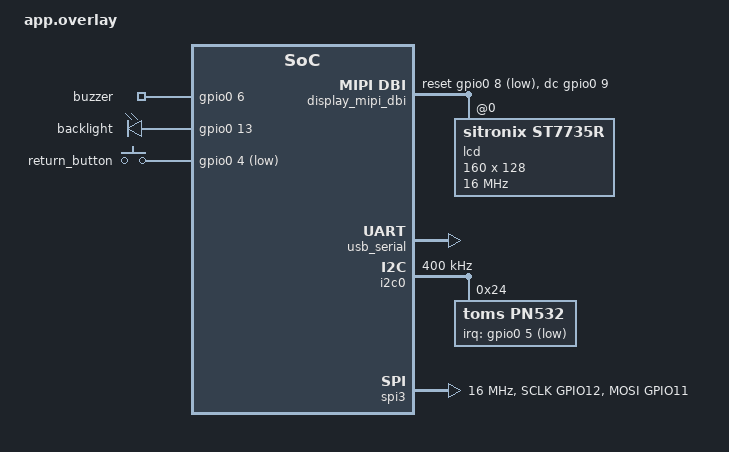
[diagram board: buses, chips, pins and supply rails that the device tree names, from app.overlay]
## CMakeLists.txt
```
cmake_minimum_required(VERSION 3.20.0)
find_package(Zephyr REQUIRED HINTS $ENV{ZEPHYR_BASE})
project(return_machine LANGUAGES C)

# Portable core shared with the host-side unit tests (firmware/lib/toms_core).
set(TOMS_CORE ${CMAKE_CURRENT_LIST_DIR}/../lib/toms_core)

target_sources(app PRIVATE
  src/main.c
  src/reset_reason.c
  src/pn532.c
  src/buzzer.c
  src/button.c
  src/display_test.c
  src/trial.c
  src/ble/svc.c
  src/ble/ota.c
  src/ota_ui.c
  ${TOMS_CORE}/src/crc16.c
  ${TOMS_CORE}/src/codec.c
  ${TOMS_CORE}/src/state_table.c
  ${TOMS_CORE}/src/ring.c
  ${TOMS_CORE}/src/clock.c
  ${TOMS_CORE}/src/guard.c
  ${TOMS_CORE}/src/reset.c
  ${TOMS_CORE}/src/ota.c
  ${TOMS_CORE}/src/sha256.c
)

target_include_directories(app PRIVATE
  src
  ${TOMS_CORE}/include
)
```

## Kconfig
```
# TOMS Return Machine — application options

mainmenu "TOMS Return Machine"

menu "TOMS Return Machine"

# Unified firmware: boots in Passenger In-Service mode, unlocks Diagnostic mode on special code
config TOMS_BACKLIGHT_ACTIVE_HIGH
	bool "Backlight is on when GPIO13 is high"
	default n
	help
		The built board uses a PNP (2N3906) high-side switch: base low =
		backlight on, so GPIO13 low is "on". The Fritzing sketch still
		shows an NPN; enable this only for that wiring.

config TOMS_PAID_TIMEOUT_MS
	int "Paid-check timeout in milliseconds (brief allows 1000-2000)"
	default 1500
	range 1000 2000

config TOMS_HEARTBEAT_INTERVAL_S
	int "Heartbeat interval in seconds"
	default 10
	range 1 120

config TOMS_RING_CAPACITY
	int "Offline card-read ring capacity (entries)"
	default 256

config TOMS_STATE_TABLE_CAPACITY
	int "Cached card state table capacity (entries)"
	default 64

config TOMS_DEV_MODE
	bool "Development mode (unbonded centrals accepted, dev key)"
	default n
	help
		Never enable in a field build. Exists only so the spike and bench
		tests can run before enrollment is designed.

config TOMS_BUILD_TAG
	string "Name printed at boot to tell images apart"
	default "dev"
	help
		Shown in the boot log and by the OTA tests ("good-1", "bad-crash", ...).

config TOMS_WATCHDOG_TIMEOUT_MS
	int "Watchdog timeout in milliseconds"
	default 8000
	range 2000 60000
	help
		The watchdog resets the SoC unless the NFC, display and main tasks all show
		progress within this time. Must be long enough for a PN532 init retry (5 s).

config TOMS_SELFTEST_GOOD_CHECKS
	int "Healthy checks in a row before a trial image confirms itself"
	default 5
	range 1 100
	help
		A check runs every second. 5 means 5 s of Bluetooth up, display up and every
		monitored task running before the image is confirmed.

config TOMS_SELFTEST_DEADLINE_MS
	int "Self-test deadline in milliseconds"
	default 30000
	range 5000 120000
	help
		If a trial image is not healthy by then, it resets so the old image comes back.

choice TOMS_TRIAL_FAULT
	prompt "Bench fault injection for the OTA revert test (NEVER in a real build)"
	default TOMS_TRIAL_FAULT_NONE

config TOMS_TRIAL_FAULT_NONE
	bool "None"

config TOMS_TRIAL_FAULT_CRASH
	bool "Crash a trial image at boot (null write)"

config TOMS_TRIAL_FAULT_HANG
	bool "Hang a trial image at boot with the watchdog armed and unfed"

config TOMS_TRIAL_FAULT_NO_CONFIRM
	bool "Trial image runs fine but never confirms itself"

config TOMS_TRIAL_FAULT_SELFTEST_FAIL
	bool "Trial image runs but its self-test always fails"

endchoice

endmenu

# An app-level Kconfig is the root of the Kconfig universe, so the Zephyr
# core must be sourced from here.
source "Kconfig.zephyr"
```

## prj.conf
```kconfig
# TOMS Return Machine — Zephyr app configuration
CONFIG_LOG=y
CONFIG_LOG_MODE_DEFERRED=y

# Bench build: unbonded phones may write and sim_card is enabled. Remove for
# any field build (writes then require an encrypted, bonded link).
CONFIG_TOMS_DEV_MODE=y

# k_thread_stack_space_get(), used by the display thread's alive line
CONFIG_INIT_STACKS=y
CONFIG_THREAD_STACK_INFO=y
CONFIG_THREAD_RUNTIME_STATS=n

CONFIG_GPIO=y
CONFIG_I2C=y
CONFIG_SPI=y
CONFIG_ADC=y
CONFIG_DISPLAY=y

CONFIG_FLASH=y
CONFIG_NVS=y

# BLE peripheral (see firmware/PROTOCOL.md)
CONFIG_BT=y
CONFIG_BT_PERIPHERAL=y
CONFIG_BT_SMP=y
CONFIG_BT_BONDABLE=y
CONFIG_BT_MAX_CONN=1
CONFIG_BT_MAX_PAIRED=2
CONFIG_BT_DEVICE_NAME="TOMS-RM"
CONFIG_BT_BUF_ACL_TX_COUNT=12
CONFIG_BT_BUF_EVT_RX_COUNT=14
CONFIG_BT_L2CAP_TX_BUF_COUNT=10
CONFIG_BT_GATT_CLIENT=n

# High-speed BLE throughput tuning (MTU 247 yields 240-byte chunks instead of 58 bytes)
CONFIG_BT_L2CAP_TX_MTU=247
CONFIG_BT_BUF_ACL_RX_SIZE=251
CONFIG_BT_BUF_ACL_TX_SIZE=251

# Stack/heap tuning symbols (MAIN_STACK_SIZE, SYSTEM_WORKQUEUE_STACK_SIZE,
# HEAP_MEM_POOL_SIZE) are not visible in the v4.2 Kconfig universe for this
# board, and WDT_DISABLE_AT_BOOT needs the esp32 wdt driver enabled first —
# revisit both when the watchdog work lands (spike item 6) and on the bench.

# OTA trial boot (OTA_PLAN.md phase 2): confirm/revert, watchdog
CONFIG_WATCHDOG=y
CONFIG_IMG_MANAGER=y
CONFIG_FLASH_MAP=y
CONFIG_STREAM_FLASH=y
CONFIG_REBOOT=y
# Do not let the driver start the watchdog before trial_start() has configured it.
CONFIG_WDT_DISABLE_AT_BOOT=y

# OTA handlers run on the Bluetooth RX thread (ota.c): more than the 1200 B default
CONFIG_BT_RX_STACK_SIZE=2048

# Persist Bluetooth bonds in the storage partition (NVS). Without this the keys live in RAM
# and die at the OTA reboot, so the phone cannot reconnect with its stored key (phase 4 finding).
CONFIG_SETTINGS=y
CONFIG_SETTINGS_NVS=y
CONFIG_BT_SETTINGS=y
```

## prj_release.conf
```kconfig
# TOMS Return Machine — Production Release Configuration Overlay
# Use with: west build ... -- -DEXTRA_CONF_FILE=prj_release.conf

# Production mode: disable unauthenticated writes and mock card injection
CONFIG_TOMS_DEV_MODE=n
CONFIG_TOMS_UI_PASSENGER=y

# Enforce secure bonding and encryption for all BLE GATT write operations
# Unbonded centrals attempting to write will receive BT_ATT_ERR_AUTHENTICATION
CONFIG_BT_SMP=y
CONFIG_BT_BONDABLE=y
CONFIG_BT_SETTINGS=y
CONFIG_SETTINGS=y
CONFIG_SETTINGS_NVS=y
```

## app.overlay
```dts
/*
 * TOMS Return Machine — devicetree overlay
 *
 * Pins verified against the Fritzing netlist (firmware/HW_NOTES.md):
 *   PN532 I2C SDA GPIO2, SCL GPIO7, IRQ GPIO5 (RSTO unconnected)
 *   Button GPIO4 (10K pull-up + 100nF, active low)
 *   Buzzer GPIO6 (low-side NPN, high = tone on)
 *   LCD CS 10, MOSI 11, SCLK 12, DC 9, RST 8, backlight GPIO13
 *   Battery sense hook: GPIO1 (nothing wired yet)
 *
 * The board is the closest upstream definition (esp32s3_devkitc); every pin
 * above is set here, none is inherited from the devkit.
 */

#include <zephyr/dt-bindings/gpio/gpio.h>
#include <zephyr/dt-bindings/i2c/i2c.h>
#include <zephyr/dt-bindings/input/input-event-codes.h>
#include <zephyr/dt-bindings/pinctrl/esp-pinctrl-common.h>
#include <dt-bindings/pinctrl/esp32s3-pinctrl.h>
#include <zephyr/dt-bindings/pinctrl/esp32s3-gpio-sigmap.h>

/ {
	/* The Super Mini only exposes the native USB-C port, so the console and
	 * shell go there instead of the devkit's UART0 pins. */
	chosen {
		zephyr,console = &usb_serial;
		zephyr,shell-uart = &usb_serial;
	};

	leds {
		compatible = "gpio-leds";

		buzzer: buzzer {
			gpios = <&gpio0 6 GPIO_ACTIVE_HIGH>;
		};

		backlight: backlight {
			gpios = <&gpio0 13 GPIO_ACTIVE_HIGH>;
		};
	};

	buttons {
		compatible = "gpio-keys";

		return_button: button_0 {
			gpios = <&gpio0 4 (GPIO_ACTIVE_LOW | GPIO_PULL_UP)>;
			zephyr,code = <INPUT_KEY_0>;
		};
	};

	/* Battery sense hook: GPIO1 (ADC1_CH0). Nothing is wired yet — add the
	 * channel node together with the hardware divider (HW_NOTES.md). */

	display_mipi_dbi: mipi_dbi {
		compatible = "zephyr,mipi-dbi-spi";
	};
};

&usb_serial {
	status = "okay";
};

&uart0 {
	status = "disabled";
};

/* The pinctrl driver reads pins from child group nodes only. The board file
 * already defines i2c0_default and spim3_default with the devkit's pins, so
 * pinmux set on those nodes directly is ignored. These are new nodes that
 * the buses are pointed at below. */
&pinctrl {
	i2c0_toms: i2c0_toms {
		group1 {
			pinmux = <I2C0_SDA_GPIO2>, <I2C0_SCL_GPIO7>;
			bias-pull-up;
			drive-open-drain;
			output-high;
		};
	};

	spim3_toms: spim3_toms {
		group1 {
			pinmux = <SPIM3_SCLK_GPIO12>;
		};
		group2 {
			pinmux = <SPIM3_MOSI_GPIO11>;
			output-low;
		};
	};
};

&i2c0 {
	status = "okay";
	clock-frequency = <I2C_BITRATE_FAST>;
	pinctrl-0 = <&i2c0_toms>;
	pinctrl-names = "default";

	pn532: pn532@24 {
		compatible = "toms,pn532";
		reg = <0x24>;
		irq-gpios = <&gpio0 5 GPIO_ACTIVE_LOW>;
	};
};

&spi3 {
	status = "okay";
	pinctrl-0 = <&spim3_toms>;
	pinctrl-names = "default";
	cs-gpios = <&gpio0 10 GPIO_ACTIVE_LOW>;
	clock-frequency = <16000000>;
};

/* ST7735S 160x128, write only (MISO unconnected per the netlist).
 * Offsets and inversion depend on the module variant; bench will confirm. */
&display_mipi_dbi {
	compatible = "zephyr,mipi-dbi-spi";
	status = "okay";
	dc-gpios = <&gpio0 9 GPIO_ACTIVE_HIGH>;
	reset-gpios = <&gpio0 8 GPIO_ACTIVE_LOW>;
	spi-dev = <&spi3>;
	write-only;
	#address-cells = <1>;
	#size-cells = <0>;

	lcd: st7735s@0 {
		compatible = "sitronix,st7735r";
		reg = <0>;
		mipi-max-frequency = <16000000>;
		mipi-mode = "MIPI_DBI_MODE_SPI_4WIRE";
		width = <160>;
		height = <128>;
		/* The ESP-IDF slave project (archive/esp32_slave) drove this panel with
		 * no window offset and inversion off. */
		x-offset = <0>;
		y-offset = <0>;
		madctl = <0x60>;  /* landscape, RGB order */
		colmod = <0x55>;  /* 16-bit pixels, matches the driver's 2 bytes per pixel */
		/* Starting gamma values for a red-tab style panel; tune on the bench. */
		gamctrp1 = [02 1c 07 12 37 32 29 2d 29 25 2B 39 00 01 03 10];
		gamctrn1 = [03 1d 07 06 2E 2C 29 2D 2E 2E 37 3F 00 00 02 10];
	};
};
```

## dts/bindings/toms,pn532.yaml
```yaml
description: PN532 NFC controller on I2C, reader mode (TOMS Return Machine)

compatible: "toms,pn532"

include: i2c-device.yaml

properties:
  irq-gpios:
    type: phandle-array
    required: true
    description: PN532 IRQ line, active low while a response is pending.
```

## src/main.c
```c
/* TOMS Return Machine — main
 *
 * Behavior per firmware/PROTOCOL.md. Drivers come up, BLE advertises, a card
 * read is notified to the phone and checked with a paid_check round trip,
 * with the cached state as the offline fallback. NVS ring persistence,
 * signing and the watchdog land with the spike (firmware/SPIKE.md) and M2. */
#include <zephyr/kernel.h>
#include <zephyr/drivers/gpio.h>
#include <zephyr/logging/log.h>
LOG_MODULE_REGISTER(main, LOG_LEVEL_INF);

#include "ble/svc.h"
#include "buzzer.h"
#include "button.h"
#include "display_test.h"
#include "pn532.h"
#include "reset_reason.h"
#include "toms_pins.h"
#include "trial.h"

#include <toms/codec.h>
#include <toms/state_table.h>

#include <zephyr/sys/printk.h> /* snprintk */

#define NFC_STACK 4096
#define NFC_PRIO 7
static K_THREAD_STACK_DEFINE(nfc_stack, NFC_STACK);
static struct k_thread nfc_thread;

static const struct gpio_dt_spec backlight =
	GPIO_DT_SPEC_GET(TOMS_BACKLIGHT_NODE, gpios);

/* 0 ok, 3 init failed (PROTOCOL.md heartbeat nfc_status). */
static atomic_t nfc_status = ATOMIC_INIT(3);
static uint8_t reset_reason;
static int display_rc = -1;
static int ble_rc = -1;

/* Read de-duplication and slot presence tracking */
enum card_presence {
	PRESENCE_EMPTY = 0,
	PRESENCE_SEATED = 1,
};

static enum card_presence slot_presence = PRESENCE_EMPTY;
static uint8_t seated_uid[TOMS_UID_MAX];
static uint8_t seated_uid_len;
static int64_t last_seen_ms;
static int64_t card_removed_ms;
static uint8_t last_removed_uid[TOMS_UID_MAX];
static uint8_t last_removed_len;

static void log_uid(const char *what, const uint8_t *uid, uint8_t len)
{
	char hex[3 * TOMS_UID_MAX + 1];
	for (uint8_t i = 0; i < len; i++) {
		snprintk(&hex[i * 3], 4, "%02X ", uid[i]);
	}
	hex[len * 3 - 1] = '\0';
	LOG_INF("%s UID [%s] len %u", what, hex, len);
}

/* Tone for the phone's paid_reply. */
static uint8_t tone_for_verdict(uint8_t verdict)
{
	switch (verdict) {
	case TOMS_VERDICT_OK:
		return TOMS_TONE_OK;
	case TOMS_VERDICT_UNPAID:
		return TOMS_TONE_UNPAID;
	case TOMS_VERDICT_UNKNOWN:
		return TOMS_TONE_UNKNOWN;
	case TOMS_VERDICT_ALREADY_RETURNED:
		return TOMS_TONE_DUPLICATE;
	default:
		return TOMS_TONE_UNVERIFIED;
	}
}

/* Offline fallback (PROTOCOL.md): only a cached paid or returned-unpaid state
 * earns a definite tone; anything else, unknown included, is "unverified". */
static uint8_t tone_for_cached(uint8_t status)
{
	switch (status) {
	case TOMS_STATUS_ASSIGNED_PAID:
		return TOMS_TONE_OK;
	case TOMS_STATUS_RETURNED_UNPAID:
		return TOMS_TONE_UNPAID;
	default:
		return TOMS_TONE_UNVERIFIED;
	}
}

static void play(uint8_t tone)
{
	struct toms_config_msg cfg;

	rm_ble_get_config(&cfg);
	if (cfg.tones_mask & BIT(tone)) {
		buzzer_play(tone);
	}
}

/* A real card from the PN532 and a simulated one from sim_card share this
 * path. The mutex keeps two sources from interleaving a paid check. */
static K_MUTEX_DEFINE(card_lock);

static void on_read(const uint8_t *uid, uint8_t uid_len, uint8_t atype)
{
	k_mutex_lock(&card_lock, K_FOREVER);

	uint8_t status = rm_ble_state_lookup(uid, uid_len);
	log_uid("card read", uid, uid_len);
	LOG_INF("type %u, cached state %u", atype, status);

	struct toms_card_read_msg msg = {
		.read_seq = 0, /* persisted sequence lands with the NVS ring */
		.timestamp = rm_ble_epoch(),
		.boot_ms = (uint32_t)k_uptime_get(),
		.uid_len = uid_len,
		.atype = atype,
		.state_cached = status,
	};
	memcpy(msg.uid, uid, uid_len);

	uint8_t frame[32];
	int len = toms_codec_encode_card_read(frame, sizeof(frame), &msg);
	if (len < 0) {
		LOG_ERR("card_read encode failed (%d)", len);
		play(tone_for_cached(status));
		k_mutex_unlock(&card_lock);
		return;
	}
	int rc = rm_ble_notify_card_read(frame, (size_t)len);
	if (rc == -ENOTCONN) {
		/* Buffer to flash here once the NVS ring exists (spike item 3). */
		LOG_INF("no central; read would be buffered");
	} else if (rc != 0) {
		LOG_WRN("card_read notify failed (%d)", rc);
	}

	/* Ask the phone, and fall back to the cached state when it cannot answer. */
	struct toms_config_msg cfg;
	uint8_t verdict;

	rm_ble_get_config(&cfg);
	rc = rm_ble_paid_check(uid, uid_len, cfg.paid_timeout_ms, &verdict);
	if (rc == 0) {
		LOG_INF("paid_reply: verdict %u", verdict);
		if (verdict == TOMS_VERDICT_UNPAID) {
			buzzer_alarm_start(30000); /* 30-second persistent alarm */
		} else {
			buzzer_alarm_stop();
			play(tone_for_verdict(verdict));
		}
		display_set_verdict(verdict, uid, uid_len, atype);
	} else {
		LOG_INF("no paid_reply (%d); using cached state", rc);
		uint8_t tone = tone_for_cached(status);
		if (tone == TOMS_TONE_UNPAID) {
			buzzer_alarm_start(30000);
			display_set_verdict(TOMS_VERDICT_UNPAID, uid, uid_len, atype);
		} else {
			buzzer_alarm_stop();
			play(tone);
			uint8_t v = (tone == TOMS_TONE_OK) ? TOMS_VERDICT_OK : 0xFF;
			display_set_verdict(v, uid, uid_len, atype);
		}
	}
	k_mutex_unlock(&card_lock);
}

#if IS_ENABLED(CONFIG_TOMS_DEV_MODE)
/* sim_card arrives on the Bluetooth RX thread, which must not wait for a
 * paid_reply that itself arrives on that thread. Hand the UID to a worker. */
struct sim_item {
	uint8_t uid[TOMS_UID_MAX];
	uint8_t uid_len;
};
K_MSGQ_DEFINE(sim_q, sizeof(struct sim_item), 4, 1);

static K_THREAD_STACK_DEFINE(sim_stack, 2048);
static struct k_thread sim_thread;

static void on_sim_card(const uint8_t *uid, uint8_t uid_len)
{
	struct sim_item it = {.uid_len = uid_len};

	memcpy(it.uid, uid, uid_len);
	if (k_msgq_put(&sim_q, &it, K_NO_WAIT) != 0) {
		LOG_WRN("sim_card dropped: queue full");
	}
}

static void sim_loop(void *a, void *b, void *c)
{
	ARG_UNUSED(a);
	ARG_UNUSED(b);
	ARG_UNUSED(c);

	for (;;) {
		struct sim_item it;

		k_msgq_get(&sim_q, &it, K_FOREVER);
		LOG_INF("simulated card");
		on_read(it.uid, it.uid_len, TOMS_ATYPE_TYPE2);
	}
}
#endif

static void nfc_loop(void *a, void *b, void *c)
{
	ARG_UNUSED(a);
	ARG_UNUSED(b);
	ARG_UNUSED(c);

	/* No RSTO is wired: after any bus failure the recovery is re-init. */
	for (;;) {
		trial_alive(TRIAL_TASK_NFC);
		if (pn532_init() != 0) {
			atomic_set(&nfc_status, 3);
			display_test_set_nfc_status(false);
			LOG_ERR("PN532 init failed; retry in 5 s");
			/* Sleep in short steps so the watchdog sees this task is alive. */
			for (int i = 0; i < 50; i++) {
				trial_alive(TRIAL_TASK_NFC);
				k_sleep(K_MSEC(100));
			}
			continue;
		}
		atomic_set(&nfc_status, 0);
		display_test_set_nfc_status(true);
		buzzer_play(TOMS_TONE_BOOT);

			for (;;) {
				struct pn532_target t;
				trial_alive(TRIAL_TASK_NFC);
				int rc = pn532_read_target(&t, K_MSEC(300));
				int64_t now = k_uptime_get();

				if (rc == 0) {
					last_seen_ms = now;

					/* If this exact card is already seated in the slot, ignore continuous re-reads */
					if (slot_presence == PRESENCE_SEATED &&
					    seated_uid_len == t.uid_len &&
					    memcmp(seated_uid, t.uid, t.uid_len) == 0) {
						/* Card is resting in the slot: no-op, suppress duplicates */
						k_sleep(K_MSEC(100));
						continue;
					}

					/* Card is newly detected in slot */
					slot_presence = PRESENCE_SEATED;
					memcpy(seated_uid, t.uid, t.uid_len);
					seated_uid_len = t.uid_len;

					/* Check if this card was recently removed within duplicate window (5.0s) */
					if (last_removed_len == t.uid_len &&
					    memcmp(last_removed_uid, t.uid, t.uid_len) == 0 &&
					    now - card_removed_ms < 5000) {
						LOG_INF("card re-inserted within 5s -> DUPLICATE");
						buzzer_alarm_stop();
						play(TOMS_TONE_DUPLICATE);
						display_set_verdict(TOMS_VERDICT_ALREADY_RETURNED, t.uid, t.uid_len, t.atype);
					} else {
						/* Fresh card insertion */
						on_read(t.uid, t.uid_len, t.atype);
					}
				} else if (rc == -ETIMEDOUT) {
					/* No card in RF field this round */
					if (slot_presence == PRESENCE_SEATED) {
						/* Check if card has been absent for > 400ms */
						if (now - last_seen_ms >= 400) {
							LOG_INF("card removed from slot");
							slot_presence = PRESENCE_EMPTY;
							card_removed_ms = now;
							memcpy(last_removed_uid, seated_uid, seated_uid_len);
							last_removed_len = seated_uid_len;
							seated_uid_len = 0;
						}
					}
					k_sleep(K_MSEC(100));
					continue;
				} else {
					LOG_WRN("PN532 read error (%d); re-init", rc);
					slot_presence = PRESENCE_EMPTY;
					seated_uid_len = 0;
					break;
				}
			}
	}
}

static void send_heartbeat(void)
{
	struct rm_ble_status st;
	rm_ble_get_status(&st);

	struct toms_heartbeat_msg msg = {
		.uptime_s = (uint32_t)(k_uptime_get() / 1000),
		.battery_pct = 0xFF, /* nothing wired to GPIO1 yet */
		.battery_mv = 0,
		.nfc_status = (uint8_t)atomic_get(&nfc_status),
		.state_version = st.state_version,
		.buffered_reads = 0, /* NVS ring not built */
		.reset_reason = reset_reason,
	};
	uint8_t frame[24];
	int len = toms_codec_encode_heartbeat(frame, sizeof(frame), &msg);
	if (len < 0) {
		LOG_ERR("heartbeat encode failed (%d)", len);
		return;
	}
	int rc = rm_ble_notify_heartbeat(frame, (size_t)len);
	if (rc != 0 && rc != -ENOTCONN) {
		LOG_WRN("heartbeat notify failed (%d)", rc);
	}
}

static uint16_t btn_press_count;

static void on_button(void)
{
	btn_press_count++;
	LOG_INF("button pressed (#%u)", (unsigned int)btn_press_count);
	if (buzzer_is_alarming() || display_is_alarming()) {
		LOG_INF("button pressed: silencing unpaid alarm");
		buzzer_alarm_stop();
		display_clear_alarm();
		display_test_record_button_press(btn_press_count);
		return;
	}
	buzzer_play(TOMS_TONE_OK);
	display_test_record_button_press(btn_press_count);
	display_test_button();

	uint8_t ev[4] = { 0x81, (uint8_t)(btn_press_count & 0xFF), (uint8_t)(btn_press_count >> 8), 0x01 };
	rm_ble_notify_diag(ev, sizeof(ev));
}

int main(void)
{
	uint8_t rr = toms_reset_reason();
	reset_reason = rr;
	LOG_INF("TOMS Return Machine boot, reset: %s (%u)", toms_reset_reason_name(rr), rr);
	LOG_INF("reset cause raw 0x%02x: %s%s", (unsigned int)toms_reset_raw(),
		toms_reset_cause_name(toms_reset_raw()),
		toms_reset_is_watchdog(toms_reset_raw()) ? "  <-- WATCHDOG" : "");

	int rc = gpio_pin_configure_dt(&backlight, IS_ENABLED(CONFIG_TOMS_BACKLIGHT_ACTIVE_HIGH)
							      ? GPIO_OUTPUT_ACTIVE
							      : GPIO_OUTPUT_INACTIVE);
	if (rc == 0) {
		LOG_INF("backlight on (polarity: active-%s)",
			IS_ENABLED(CONFIG_TOMS_BACKLIGHT_ACTIVE_HIGH) ? "high" : "low");
	} else {
		LOG_ERR("backlight GPIO failed (%d)", rc);
	}

	display_rc = display_test_init();
	if (display_rc != 0) {
		LOG_ERR("display test init failed (%d)", display_rc);
	}
	trial_report_display(display_rc == 0);

	buzzer_init();
	buzzer_play(TOMS_TONE_BOOT);
	button_init(on_button);

	ble_rc = rm_ble_start();
	if (ble_rc != 0) {
		LOG_ERR("BLE start failed (%d)", ble_rc);
	}
	trial_report_ble(ble_rc == 0);

	k_thread_create(&nfc_thread, nfc_stack, NFC_STACK, nfc_loop, NULL, NULL, NULL, NFC_PRIO, 0,
			K_NO_WAIT);

#if IS_ENABLED(CONFIG_TOMS_DEV_MODE)
	rm_ble_set_sim_card_cb(on_sim_card);
	k_thread_create(&sim_thread, sim_stack, K_THREAD_STACK_SIZEOF(sim_stack), sim_loop, NULL,
			NULL, NULL, NFC_PRIO, 0, K_NO_WAIT);
#endif

	int trial_rc = trial_start();

	if (trial_rc != 0) {
		LOG_ERR("trial/watchdog start failed (%d)", trial_rc);
	}

	uint32_t beat = 0;
	for (;;) {
		struct toms_config_msg cfg;

		rm_ble_get_config(&cfg);
		/* Sleep in short steps so the watchdog sees this task is alive. */
		for (uint32_t s = 0; s < cfg.heartbeat_interval_s * 10u; s++) {
			trial_alive(TRIAL_TASK_MAIN);
			k_sleep(K_MSEC(100));
		}
		beat++;
		LOG_INF("heartbeat #%u: uptime %u s, reset %s (raw 0x%02x), display init %d, "
			"ble start %d, image %s (%s)", beat, (uint32_t)(k_uptime_get() / 1000),
			toms_reset_reason_name(rr), (unsigned int)toms_reset_raw(), display_rc, ble_rc,
			CONFIG_TOMS_BUILD_TAG, trial_pending() ? "ON TRIAL" : "confirmed");
		send_heartbeat();
	}
	return 0;
}
```

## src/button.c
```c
#include "button.h"

#include <zephyr/kernel.h>
#include <zephyr/drivers/gpio.h>
#include <zephyr/logging/log.h>
LOG_MODULE_REGISTER(button, LOG_LEVEL_INF);

#include "toms_pins.h"

#define DEBOUNCE_MS 25

static const struct gpio_dt_spec btn = GPIO_DT_SPEC_GET(TOMS_BUTTON_NODE, gpios);
static struct gpio_callback btn_cb;
static toms_button_cb_t user_cb;

static void debounce_run(struct k_work *work);

static K_WORK_DELAYABLE_DEFINE(debounce_work, debounce_run);

static void debounce_run(struct k_work *work)
{
	ARG_UNUSED(work);

	/* Logical level accounts for GPIO_ACTIVE_LOW: 1 = pressed. */
	if (gpio_pin_get_dt(&btn) == 1 && user_cb != NULL) {
		user_cb();
	}
}

static void edge_fired(const struct device *dev, struct gpio_callback *cb, uint32_t pins)
{
	ARG_UNUSED(dev);
	ARG_UNUSED(cb);
	ARG_UNUSED(pins);
	k_work_reschedule(&debounce_work, K_MSEC(DEBOUNCE_MS));
}

int button_init(toms_button_cb_t cb)
{
	if (!gpio_is_ready_dt(&btn)) {
		LOG_ERR("button GPIO not ready");
		return -ENODEV;
	}
	user_cb = cb;

	int rc = gpio_pin_configure_dt(&btn, GPIO_INPUT);
	if (rc != 0) {
		return rc;
	}
	rc = gpio_pin_interrupt_configure_dt(&btn, GPIO_INT_EDGE_TO_ACTIVE);
	if (rc != 0) {
		return rc;
	}
	gpio_init_callback(&btn_cb, edge_fired, BIT(btn.pin));
	return gpio_add_callback(btn.port, &btn_cb);
}
```

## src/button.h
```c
/* Debounced push button (GPIO4, active low, external 10K pull-up + 100 nF). */
#ifndef TOMS_BUTTON_H
#define TOMS_BUTTON_H

typedef void (*toms_button_cb_t)(void);

/* Installs the GPIO interrupt. The callback runs in the system workqueue
 * after the 25 ms debounce window. Returns 0 on success. */
int button_init(toms_button_cb_t cb);

#endif /* TOMS_BUTTON_H */
```

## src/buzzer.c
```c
#include "buzzer.h"

#include <zephyr/kernel.h>
#include <zephyr/drivers/gpio.h>
#include <zephyr/logging/log.h>
LOG_MODULE_REGISTER(buzzer, LOG_LEVEL_INF);

#include "toms_pins.h"

static const struct gpio_dt_spec bz = GPIO_DT_SPEC_GET(TOMS_BUZZER_NODE, gpios);

struct tone_step {
	uint16_t on_ms;
	uint16_t off_ms;
};

/* {on, off} pairs, terminated by {0, 0} */
static const struct tone_step patterns[][8] = {
	[TOMS_TONE_BOOT] = { { 30, 60 }, { 30, 60 }, { 30, 0 }, { 0, 0 } },
	[TOMS_TONE_OK] = { { 80, 0 }, { 0, 0 } },
	[TOMS_TONE_UNPAID] = { { 200, 150 }, { 200, 150 }, { 200, 0 }, { 0, 0 } },
	[TOMS_TONE_UNKNOWN] = { { 300, 100 }, { 300, 0 }, { 0, 0 } },
	[TOMS_TONE_UNVERIFIED] = { { 60, 120 }, { 60, 0 }, { 0, 0 } },
	[TOMS_TONE_DUPLICATE] = { { 400, 0 }, { 0, 0 } },
};

static const struct tone_step *current;
static uint8_t step;
static bool sounding;
static bool alarm_active;
static int64_t alarm_deadline_ms;

static void step_run(struct k_work *work);

static K_WORK_DELAYABLE_DEFINE(step_work, step_run);

static void step_run(struct k_work *work)
{
	ARG_UNUSED(work);

	if (current == NULL) {
		return;
	}

	if (sounding) {
		/* On phase elapsed: silence, then move to the next step. */
		gpio_pin_set_dt(&bz, 0);
		sounding = false;

		if (alarm_active) {
			if (k_uptime_get() >= alarm_deadline_ms) {
				LOG_INF("buzzer: unpaid alarm auto-timeout after 30s");
				alarm_active = false;
				current = NULL;
				return;
			}
			/* Unpaid continuous alarm pattern: 200ms ON, 150ms OFF */
			k_work_reschedule(&step_work, K_MSEC(150));
			return;
		}

		if (current[step + 1].on_ms == 0) {
			current = NULL;
			return;
		}
		uint16_t off = current[step].off_ms;
		step++;
		if (off == 0) {
			step_run(work); /* immediate next beep */
		} else {
			k_work_reschedule(&step_work, K_MSEC(off));
		}
		return;
	}

	gpio_pin_set_dt(&bz, 1);
	sounding = true;
	uint16_t on_time = alarm_active ? 200 : current[step].on_ms;
	k_work_reschedule(&step_work, K_MSEC(on_time));
}

void buzzer_play(enum toms_tone tone)
{
	if (tone >= ARRAY_SIZE(patterns)) {
		return;
	}
	k_work_cancel_delayable(&step_work);
	alarm_active = false;
	gpio_pin_set_dt(&bz, 0);
	sounding = false;
	current = patterns[tone];
	step = 0;
	step_run(&step_work.work);
}

void buzzer_alarm_start(uint32_t timeout_ms)
{
	k_work_cancel_delayable(&step_work);
	gpio_pin_set_dt(&bz, 0);
	sounding = false;
	alarm_active = true;
	alarm_deadline_ms = k_uptime_get() + (timeout_ms > 0 ? timeout_ms : 30000u);
	current = patterns[TOMS_TONE_UNPAID];
	step = 0;
	LOG_INF("buzzer: continuous unpaid alarm started (timeout %u ms)", (unsigned int)timeout_ms);
	step_run(&step_work.work);
}

void buzzer_alarm_stop(void)
{
	if (alarm_active || sounding) {
		LOG_INF("buzzer: alarm stopped / silenced");
	}
	alarm_active = false;
	k_work_cancel_delayable(&step_work);
	gpio_pin_set_dt(&bz, 0);
	sounding = false;
	current = NULL;
}

bool buzzer_is_alarming(void)
{
	return alarm_active;
}

void buzzer_init(void)
{
	if (!gpio_is_ready_dt(&bz)) {
		LOG_ERR("buzzer GPIO not ready");
		return;
	}
	gpio_pin_configure_dt(&bz, GPIO_OUTPUT_INACTIVE);
}
```

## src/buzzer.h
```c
/* Buzzer patterns. The buzzer is a fixed-pitch active unit behind a low-side
 * NPN (GPIO6 high = on), so everything is expressed as beep patterns. */
#ifndef TOMS_BUZZER_H
#define TOMS_BUZZER_H

#include <stdbool.h>
#include <stdint.h>

enum toms_tone {
	TOMS_TONE_BOOT = 0,   /* rising 3 quick beeps: boot / reconnect */
	TOMS_TONE_OK = 1,     /* 1 x 80 ms: card read, paid */
	TOMS_TONE_UNPAID = 2, /* 3 x 200 ms: unpaid card returned */
	TOMS_TONE_UNKNOWN = 3,/* 2 x 300 ms: card not in the registry */
	TOMS_TONE_UNVERIFIED = 4, /* 2 x 60 ms: BLE down or reply late */
	TOMS_TONE_DUPLICATE = 5,  /* 1 x 400 ms: card read twice at exit */
};

void buzzer_init(void);
/* Non-blocking; playing a new tone replaces the one in progress. */
void buzzer_play(enum toms_tone tone);

/* Start continuous pulsing alarm (200ms on, 150ms off repeating).
 * Stops automatically after timeout_ms (e.g. 30000ms), or when buzzer_alarm_stop() is called. */
void buzzer_alarm_start(uint32_t timeout_ms);

/* Stop any active continuous alarm immediately and silence the buzzer. */
void buzzer_alarm_stop(void);

/* Returns true if the continuous alarm is currently sounding. */
bool buzzer_is_alarming(void);

#endif /* TOMS_BUZZER_H */
```

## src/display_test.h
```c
/* Stand-alone display bench test. Needs no computer: it runs from power-up and
 * the Return button drives it.
 *
 *   power-up        pages advance by themselves every 3 s
 *   short press     next page (stops the automatic advance)
 *   hold > 0.8 s    flip the backlight GPIO (finds the polarity by eye)
 *
 * Pages: RED, GREEN, BLUE, WHITE, BLACK, colour bars, frame + corner markers,
 * gradient + checkerboard, info, last card UID. */
#ifndef TOMS_DISPLAY_TEST_H
#define TOMS_DISPLAY_TEST_H

#include <stdbool.h>
#include <stdint.h>

/* Brings up the panel and starts the test thread. Returns 0 on success. */
int display_test_init(void);

/* Called from the button callback: short press = next page, hold = flip
 * the backlight. Blocks up to the long-press window; the callback runs in
 * the system workqueue, which is fine for a bench build. */
void display_test_button(void);

/* Show the next page. */
void display_test_next(void);

/* Long press: flip the backlight GPIO and redraw. */
void display_test_backlight_toggle(void);

/* Stores the UID and card type, jumps to card page. Safe to call from any thread. */
void display_test_set_uid(const uint8_t *uid, uint8_t len, uint8_t atype);

/* Passenger deployment UI: displays the paid check verdict on the LCD:
 * TOMS_VERDICT_OK, TOMS_VERDICT_UNPAID, TOMS_VERDICT_UNKNOWN,
 * TOMS_VERDICT_ALREADY_RETURNED, or 0xFF (offline unverified). */
void display_set_verdict(uint8_t verdict, const uint8_t *uid, uint8_t len, uint8_t atype);

/* Immediately silences active unpaid alarm and returns display to idle. */
void display_clear_alarm(void);

/* Returns true if an unpaid fare alarm is currently active on screen. */
bool display_is_alarming(void);

/* Switches between normal passenger transit UI (false) and hardware diagnostic test mode (true). */
void display_set_diag_mode(bool active);

/* Checks if diagnostic test mode is currently active. */
bool display_is_diag_mode(void);

/* Diagnostics tools status updates. */
void display_test_set_nfc_status(bool ready);
void display_test_record_button_press(uint16_t count);

#endif /* TOMS_DISPLAY_TEST_H */
```

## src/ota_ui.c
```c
#include "ota_ui.h"

#include <zephyr/kernel.h>
#include <zephyr/logging/log.h>
LOG_MODULE_REGISTER(ota_ui, LOG_LEVEL_INF);

static K_MUTEX_DEFINE(lock);
static struct ota_ui_state state;
static K_SEM_DEFINE(pair_btn, 0, 1);

void ota_ui_show_pair(uint32_t passkey)
{
	k_mutex_lock(&lock, K_FOREVER);
	state.kind = OTA_UI_PAIR;
	state.passkey = passkey;
	k_mutex_unlock(&lock);
}

void ota_ui_pair_wait_confirm(uint32_t wait_ms)
{
	k_sem_reset(&pair_btn);
	/* Any press between now and the wait is kept: the reset happens before
	 * the user could see the number on the LCD. */
	(void)k_sem_take(&pair_btn, K_MSEC(wait_ms));
}

bool ota_ui_pair_button(void)
{
	k_mutex_lock(&lock, K_FOREVER);
	bool mine = state.kind == OTA_UI_PAIR;
	k_mutex_unlock(&lock);
	if (mine) {
		k_sem_give(&pair_btn);
	}
	return mine;
}

void ota_ui_clear_pair(void)
{
	k_mutex_lock(&lock, K_FOREVER);
	if (state.kind == OTA_UI_PAIR) {
		state.kind = OTA_UI_NONE;
	}
	k_mutex_unlock(&lock);
}

void ota_ui_show_update(uint8_t phase, uint32_t done, uint32_t total)
{
	k_mutex_lock(&lock, K_FOREVER);
	state.kind = OTA_UI_UPDATE;
	state.phase = phase;
	state.done = done;
	state.total = total;
	k_mutex_unlock(&lock);
}

void ota_ui_clear_update(void)
{
	k_mutex_lock(&lock, K_FOREVER);
	if (state.kind == OTA_UI_UPDATE) {
		state.kind = OTA_UI_NONE;
	}
	k_mutex_unlock(&lock);
}

struct ota_ui_state ota_ui_get(void)
{
	k_mutex_lock(&lock, K_FOREVER);
	struct ota_ui_state out = state;
	k_mutex_unlock(&lock);
	return out;
}
```

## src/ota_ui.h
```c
/* What the LCD shows during Bluetooth pairing and a firmware update.
 *
 * The OTA worker and the pairing callbacks only RECORD state here; the display
 * thread is the only code that draws, and it renders this state instead of its
 * colour pages while an update or a pairing is in progress. */
#ifndef TOMS_OTA_UI_H
#define TOMS_OTA_UI_H

#include <stdbool.h>
#include <stdint.h>

enum ota_ui_kind {
	OTA_UI_NONE = 0,
	OTA_UI_PAIR,   /* show the pairing passkey */
	OTA_UI_UPDATE, /* show update progress */
};

enum ota_ui_phase {
	OTA_UI_ERASE = 0,
	OTA_UI_RECV,
	OTA_UI_VERIFY,
	OTA_UI_READY, /* installed, rebooting */
};

/* A snapshot for the display thread to draw. */
struct ota_ui_state {
	enum ota_ui_kind kind;
	uint32_t passkey;  /* PAIR: the 6-digit number */
	uint8_t phase;     /* UPDATE: ota_ui_phase */
	uint32_t done;     /* UPDATE: bytes written (RECV) or progress numerator */
	uint32_t total;    /* UPDATE: image size */
};

/* Pairing screen ------------------------------------------------------- */

/* Called on the Bluetooth RX thread: show this passkey on the LCD. */
void ota_ui_show_pair(uint32_t passkey);

/* Called on the Bluetooth RX thread from passkey_confirm: wait up to `wait_ms`
 * for the user to press the button (numeric comparison), then return. The
 * caller always confirms afterwards, so a timeout keeps unattended pairing
 * working. */
void ota_ui_pair_wait_confirm(uint32_t wait_ms);

/* The display thread's button handler: returns true if the press was consumed
 * as a pairing confirmation. */
bool ota_ui_pair_button(void);

/* Pairing finished one way or another: back to the normal pages. */
void ota_ui_clear_pair(void);

/* Update screen -------------------------------------------------------- */

/* Called on the OTA worker thread: show the progress screen. */
void ota_ui_show_update(uint8_t phase, uint32_t done, uint32_t total);

void ota_ui_clear_update(void);

/* The display thread takes a snapshot to draw. */
struct ota_ui_state ota_ui_get(void);

#endif /* TOMS_OTA_UI_H */
```

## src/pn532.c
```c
#include "pn532.h"

#include <errno.h>
#include <string.h>
#include <zephyr/drivers/gpio.h>
#include <zephyr/drivers/i2c.h>
#include <zephyr/logging/log.h>
LOG_MODULE_REGISTER(pn532, LOG_LEVEL_INF);

#include "toms_pins.h"

#define PN532_I2C_ADDR 0x24

#define PN532_TFI_HOST_TO_PN532 0xD4u
#define PN532_TFI_PN532_TO_HOST 0xD5u

/* Largest frame we handle: response payload is capped at 265 per the manual. */
#define PN532_FRAME_MAX 300u

static const struct i2c_dt_spec pn_i2c = I2C_DT_SPEC_GET(TOMS_PN532_NODE);
static const struct gpio_dt_spec pn_irq = GPIO_DT_SPEC_GET(TOMS_PN532_NODE, irq_gpios);

static struct gpio_callback irq_cb;
static struct k_sem irq_sem;

static void irq_fired(const struct device *dev, struct gpio_callback *cb, uint32_t pins)
{
	ARG_UNUSED(dev);
	ARG_UNUSED(cb);
	ARG_UNUSED(pins);
	k_sem_give(&irq_sem);
}

static uint8_t dcs_of(const uint8_t *data, size_t len)
{
	uint8_t sum = 0;
	for (size_t i = 0; i < len; i++) {
		sum += data[i];
	}
	return (uint8_t)(~sum + 1u);
}

static int wait_ready(k_timeout_t timeout)
{
	int64_t deadline = k_uptime_get() + k_ticks_to_ms_floor64(timeout.ticks);

	do {
		/* IRQ pin is active low, logical 1 in Zephyr DT */
		if (gpio_pin_get_dt(&pn_irq) == 1) {
			return 0;
		}
		if (k_sem_take(&irq_sem, K_MSEC(5)) == 0) {
			return 0;
		}
	} while (k_uptime_get() < deadline);

	return -ETIMEDOUT;
}

/* Raw frame: 00 00 FF LEN LCS [TFI data...] DCS 00. */
static int pn532_write_frame(const uint8_t *cmd, size_t clen)
{
	if (clen == 0 || clen + 1u > PN532_FRAME_MAX - 8u) {
		return -EINVAL;
	}
	uint8_t payload[PN532_FRAME_MAX];
	size_t len = clen + 1u; /* TFI + command */
	uint8_t buf[PN532_FRAME_MAX];
	size_t n = 0;
	uint8_t hdr[3] = { 0x00, 0x00, 0xFF };
	uint8_t lcs = (uint8_t)(~(uint8_t)len + 1u);

	payload[0] = PN532_TFI_HOST_TO_PN532;
	memcpy(&payload[1], cmd, clen);

	memcpy(&buf[n], hdr, 3);
	n += 3;
	buf[n++] = (uint8_t)len;
	buf[n++] = lcs;
	memcpy(&buf[n], payload, len);
	n += len;
	buf[n++] = dcs_of(payload, len);
	buf[n++] = 0x00;

	return i2c_write_dt(&pn_i2c, buf, n);
}

/* Abort a command the PN532 is still processing (no RSTO is wired). */
static int pn532_abort(void)
{
	static const uint8_t ack_frame[6] = { 0x00, 0x00, 0xFF, 0x00, 0xFF, 0x00 };
	return i2c_write_dt(&pn_i2c, ack_frame, sizeof(ack_frame));
}

/* Read ACK frame: exactly 7 bytes (1 status + 6 ACK bytes). */
static int pn532_read_ack(k_timeout_t timeout)
{
	int rc = wait_ready(timeout);
	if (rc != 0) {
		return (rc == -EAGAIN) ? -ETIMEDOUT : rc;
	}

	uint8_t ack[7];
	rc = i2c_read_dt(&pn_i2c, ack, sizeof(ack));
	if (rc != 0) {
		return -EIO;
	}
	if ((ack[0] & 0x01u) == 0u) {
		return -EIO;
	}
	/* ACK frame: 00 00 FF 00 FF 00 */
	if (ack[1] != 0x00u || ack[2] != 0x00u || ack[3] != 0xFFu ||
	    ack[4] != 0x00u || ack[5] != 0xFFu || ack[6] != 0x00u) {
		return -EIO;
	}
	return 0;
}

/* Read response: single 64-byte I2C transaction, parse in memory. */
static int pn532_read_response(uint8_t *resp, size_t *rlen, k_timeout_t timeout)
{
	int rc = wait_ready(timeout);
	if (rc != 0) {
		return (rc == -EAGAIN) ? -ETIMEDOUT : rc;
	}

	uint8_t raw[64];
	memset(raw, 0, sizeof(raw));
	rc = i2c_read_dt(&pn_i2c, raw, sizeof(raw));
	if (rc != 0) {
		return -EIO;
	}
	if ((raw[0] & 0x01u) == 0u) {
		return -EIO;
	}

	const uint8_t *p = &raw[1];
	if (p[0] != 0x00u || p[1] != 0x00u || p[2] != 0xFFu) {
		return -EIO;
	}
	uint8_t len = p[3];
	uint8_t lcs = p[4];
	if ((uint8_t)(len + lcs) != 0u) {
		return -EIO;
	}
	if (len < 2u || len > 48u) {
		return -EIO;
	}
	if (p[5] != PN532_TFI_PN532_TO_HOST) {
		return -EIO;
	}

	/* DCS check: sum of p[5 .. 5 + len] == 0 mod 256 */
	uint8_t dcs_sum = 0;
	for (uint8_t i = 0; i <= len; i++) {
		dcs_sum += p[5 + i];
	}
	if (dcs_sum != 0u) {
		return -EIO;
	}

	if (*rlen < (size_t)len) {
		return -ENOSPC;
	}
	memcpy(resp, &p[5], len);
	*rlen = len;
	return 0;
}

/* Send a command, consume the ACK, deliver the response payload. */
static int pn532_exchange(const uint8_t *cmd, size_t clen, uint8_t *resp, size_t *rlen,
			  k_timeout_t timeout)
{
	int rc = pn532_write_frame(cmd, clen);
	if (rc != 0) {
		return -EIO;
	}

	rc = pn532_read_ack(K_MSEC(100));
	if (rc != 0) {
		pn532_abort();
		return rc;
	}

	rc = pn532_read_response(resp, rlen, timeout);
	if (rc != 0) {
		pn532_abort();
		return rc;
	}

	return 0;
}

int pn532_in_release(uint8_t tg)
{
	const uint8_t cmd[2] = { 0x52, tg };
	uint8_t resp[8];
	size_t rlen = sizeof(resp);

	return pn532_exchange(cmd, sizeof(cmd), resp, &rlen, K_MSEC(100));
}

int pn532_get_firmware_version(uint8_t out[4])
{
	const uint8_t cmd[1] = { 0x02 }; /* GetFirmwareVersion */
	uint8_t resp[8];
	size_t rlen = sizeof(resp);

	int rc = pn532_exchange(cmd, sizeof(cmd), resp, &rlen, K_MSEC(100));
	if (rc != 0) {
		return rc;
	}
	/* resp: D5 03 IC VER REV SUPPORT */
	if (rlen < 6u || resp[1] != 0x03u) {
		return -EIO;
	}
	memcpy(out, &resp[2], 4);
	return 0;
}

int pn532_init(void)
{
	if (!device_is_ready(pn_i2c.bus) || !gpio_is_ready_dt(&pn_irq)) {
		LOG_ERR("PN532 bus or IRQ not ready");
		return -ENODEV;
	}

	k_sem_reset(&irq_sem);

	/* SAMConfiguration: normal mode, timeout 0x14, use IRQ pin */
	const uint8_t sam[4] = { 0x14, 0x01, 0x14, 0x01 };
	uint8_t resp[8];
	size_t rlen = sizeof(resp);
	int rc = pn532_exchange(sam, sizeof(sam), resp, &rlen, K_MSEC(500));
	if (rc != 0 || rlen < 2u || resp[1] != 0x15u) {
		LOG_ERR("SAMConfiguration failed (rc=%d)", rc);
		return rc == 0 ? -EIO : rc;
	}

	/* MaxRetries (item 5): MxRtyATR=0xFF, MxRtyPSL=0x01, MxRtyPassiveActivation=0x01.
	 * Requires 5 bytes total. INLISTPASSIVETARGET gives up quickly per round. */
	const uint8_t rf[5] = { 0x32, 0x05, 0xFF, 0x01, 0x01 };
	rlen = sizeof(resp);
	rc = pn532_exchange(rf, sizeof(rf), resp, &rlen, K_MSEC(100));
	if (rc != 0) {
		LOG_WRN("RFConfiguration failed (rc=%d), continuing", rc);
	}

	uint8_t ver[4];
	rc = pn532_get_firmware_version(ver);
	if (rc == 0) {
		LOG_INF("PN532 v%u.%u (IC=0x%02X)", ver[1], ver[2], ver[0]);
	} else {
		LOG_WRN("GetFirmwareVersion failed (rc=%d) - continuing", rc);
	}

	LOG_INF("PN532 initialized successfully");
	return 0;
}

int pn532_read_target(struct pn532_target *out, k_timeout_t timeout)
{
	const uint8_t cmd[3] = { 0x4A, 0x01, 0x00 }; /* InListPassiveTarget, 1 target, 106 kbps */
	uint8_t resp[64];
	size_t rlen = sizeof(resp);

	int rc = pn532_exchange(cmd, sizeof(cmd), resp, &rlen, timeout);
	if (rc == -ETIMEDOUT) {
		return -ETIMEDOUT;
	}
	if (rc != 0) {
		return -EIO;
	}
	/* resp: D5 4B NbTg [Tg SENS_RES(2) SEL_RES UIDLen UID] */
	if (rlen < 3u || resp[0] != 0xD5u || resp[1] != 0x4Bu) {
		return -EIO;
	}

	uint8_t nb_tg = resp[2];
	if (nb_tg == 0u) {
		/* No card in the field. Normal polling condition, NOT an error! */
		return -ETIMEDOUT;
	}

	if (rlen < 8u) {
		return -EIO;
	}

	const uint8_t sel_res = resp[6];
	const uint8_t uid_len = resp[7];
	if (uid_len < 4u || uid_len > 10u || rlen < 8u + (size_t)uid_len) {
		return -EIO;
	}

	out->uid_len = uid_len;
	memcpy(out->uid, &resp[8], uid_len);

	if ((sel_res & 0x40u) != 0u) {
		out->atype = PN532_ATYPE_TYPE4; /* ISO 14443-4: DESFire */
	} else if ((sel_res & 0x08u) != 0u) {
		out->atype = PN532_ATYPE_CLASSIC; /* MIFARE Classic */
	} else if ((sel_res & 0x04u) != 0u) {
		out->atype = PN532_ATYPE_TYPE2; /* NTAG21x / Ultralight */
	} else {
		out->atype = PN532_ATYPE_OTHER;
	}

	/* Release target so card can be re-detected or removed cleanly */
	(void)pn532_in_release(0);

	return 0;
}

static int pn532_setup(void)
{
	k_sem_init(&irq_sem, 0, 1);

	int rc = gpio_pin_configure_dt(&pn_irq, GPIO_INPUT);
	if (rc != 0) {
		return rc;
	}
	rc = gpio_pin_interrupt_configure_dt(&pn_irq, GPIO_INT_EDGE_TO_ACTIVE);
	if (rc != 0) {
		return rc;
	}
	gpio_init_callback(&irq_cb, irq_fired, BIT(pn_irq.pin));
	return gpio_add_callback(pn_irq.port, &irq_cb);
}

/* Init the IRQ machinery before the app threads start polling. */
SYS_INIT(pn532_setup, POST_KERNEL, CONFIG_I2C_INIT_PRIORITY);
```

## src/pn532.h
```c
/* PN532 NFC controller driver — I2C, reader mode only.
 *
 * The old archive driver (archive/shared_lib/pn532) was NFC-DEP focused and
 * ESP-IDF specific; this one speaks plain ISO 14443-A reader commands on the
 * Zephyr I2C API. Framing follows the PN532 user manual: the I2C read starts
 * with a one-byte ready status, frames are 00 00 FF LEN LCS TFI ... DCS 00.
 * There is no hardware reset wired (RSTO unconnected) — recovery is
 * re-initialization (pn532_init) or a bus-level abort with the ACK frame. */
#ifndef TOMS_PN532_H
#define TOMS_PN532_H

#include <stdint.h>
#include <zephyr/kernel.h>

#include <toms/codec.h>

/* Antenna type classification: the wire codes live in toms/codec.h
 * (TOMS_ATYPE_*); these aliases keep the driver's vocabulary. */
#define PN532_ATYPE_OTHER TOMS_ATYPE_OTHER
#define PN532_ATYPE_TYPE2 TOMS_ATYPE_TYPE2
#define PN532_ATYPE_TYPE4 TOMS_ATYPE_TYPE4
#define PN532_ATYPE_CLASSIC TOMS_ATYPE_CLASSIC

struct pn532_target {
	uint8_t uid[10];
	uint8_t uid_len; /* 4, 7 or 10 */
	uint8_t atype;   /* PN532_ATYPE_* */
};

/* Bring the PN532 up: SAM configuration, RF retry limits, version check.
 * Returns 0 on success; call again to recover after bus errors. */
int pn532_init(void);

/* Filled with IC, firmware version, revision, support (response of 0x02). */
int pn532_get_firmware_version(uint8_t out[4]);

/* Release target tg (0 = all targets). Returns 0 on success. */
int pn532_in_release(uint8_t tg);

/* Poll once for one ISO 14443-A target (INLISTPASSIVETARGET, 106 kbps).
 * Returns 0 and fills `out` when a card was found, -ETIMEDOUT when the IRQ
 * stayed idle for `timeout`, -EIO on bus/protocol errors. */
int pn532_read_target(struct pn532_target *out, k_timeout_t timeout);

#endif /* TOMS_PN532_H */
```

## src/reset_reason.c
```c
#include "reset_reason.h"

#include <zephyr/kernel.h>
#include <zephyr/logging/log.h>
LOG_MODULE_REGISTER(reset_reason, LOG_LEVEL_INF);

#include "toms_pins.h"

#if defined(CONFIG_SOC_SERIES_ESP32S3)
/* ESP32-S3 reset causes live in the ROM registers of the SoC. There is no
 * generic Zephyr reset-reason API (as of Zephyr 4.x), so read the SoC value
 * and map it onto the heartbeat's codes. esp_rom_get_reset_reason is
 * declared in the ROM layer's esp_rom_sys.h (hal_espressif). */
#include <esp_rom_sys.h>

static uint32_t soc_reset_reason(void)
{
	return esp_rom_get_reset_reason(0);
}
#else
static uint32_t soc_reset_reason(void)
{
	return 0;
}
#endif

uint32_t toms_reset_raw(void)
{
	return soc_reset_reason();
}

uint8_t toms_reset_reason(void)
{
	return toms_reset_classify(soc_reset_reason());
}

const char *toms_reset_reason_name(uint8_t reason)
{
	switch (reason) {
	case TOMS_RESET_POWER_ON:
		return "power-on";
	case TOMS_RESET_BROWNOUT:
		return "brownout";
	case TOMS_RESET_WATCHDOG:
		return "watchdog";
	case TOMS_RESET_SOFTWARE:
		return "software";
	case TOMS_RESET_PIN_DEBUG:
		return "pin/debug";
	default:
		return "other";
	}
}
```

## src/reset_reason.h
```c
#ifndef TOMS_RESET_REASON_H
#define TOMS_RESET_REASON_H

#include <stdint.h>

/* Reason codes sent in the heartbeat (PROTOCOL.md):
 * 0 power-on, 1 brownout, 2 watchdog, 3 software, 4 pin/debug, 5 other. */
#include <toms/reset.h> /* TOMS_RESET_* codes and the cause table */

/* The ROM's raw reset cause (ESP32-S3 soc_reset_reason_t). */
uint32_t toms_reset_raw(void);

uint8_t toms_reset_reason(void);
const char *toms_reset_reason_name(uint8_t reason);

#endif /* TOMS_RESET_REASON_H */
```
